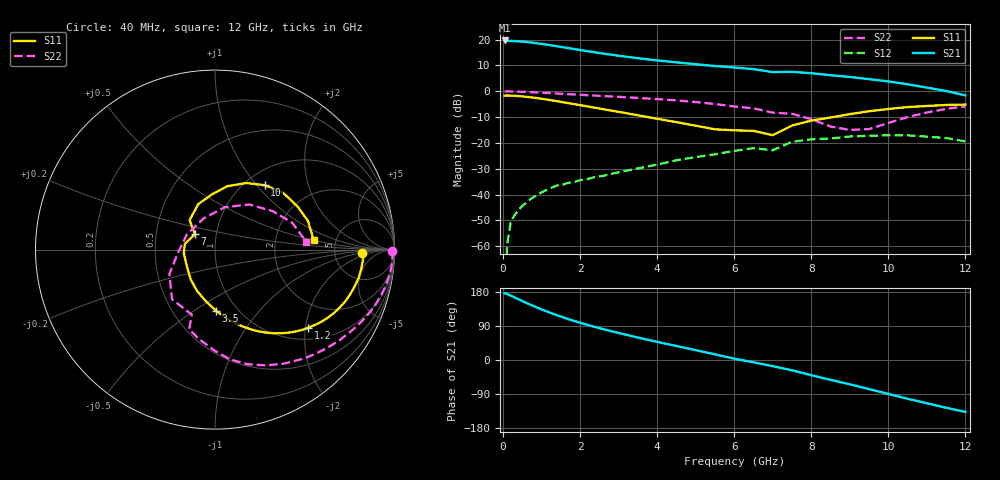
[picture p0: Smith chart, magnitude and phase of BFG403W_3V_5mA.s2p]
! Filename: 35bfg403.001
! BFG403W Field A1
! V1=8.898E-001V,V2=3.000E+000V, I1=7.423E-005A, I2=4.990E-003A
# GHz  S  MA  R 50
!  S11  S21  S12  S22
!Freq(GHz)  Mag  Ang  Mag  Ang  Mag  Ang  Mag  Ang
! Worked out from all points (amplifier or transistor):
!   44 points, 40 MHz to 12 GHz, reference 50 ohm
!   highest |S21| = 19.7 dB at 40 MHz (marker M1)
!   |S21| within 3 dB of that: start of sweep to 1.712 GHz
!   S11 on the Smith chart (normalised r, x): 40 MHz: 10, -1; 1.2 GHz: 1.28, -2.07; 3.5 GHz: 0.80, -0.62; 7 GHz: 0.79, +0.14; 10 GHz: 1.22, +1.10; 12 GHz: 3.37, +0.54
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0.04  0.821 -1.5  9.62 176.2  0 60.8  0.987 -0.4
0.1  0.827 -3.6  9.463 174.4  0.001 91.3  0.99 -1.9
0.2  0.822 -7.4  9.42 169.8  0.003 84.2  0.989 -4.2
0.4  0.806 -14.4  9.274 160.3  0.005 81.1  0.981 -8.7
0.5  0.793 -18.4  9.167 155.4  0.006 77.1  0.975 -10.7
0.7  0.766 -24.9  8.813 146.4  0.008 73.7  0.962 -14.8
0.9  0.733 -31.3  8.452 137.7  0.01 70.5  0.946 -18.7
1.2  0.678 -40.0  7.842 125.6  0.013 66.4  0.92 -24.1
1.6  0.605 -50.2  7.029 111.1  0.016 62.9  0.885 -30.7
1.9  0.554 -56.9  6.461 101.4  0.018 61.1  0.861 -35.4
2.2  0.507 -63.2  5.952 92.5  0.02 60.4  0.837 -40.0
2.8  0.423 -74.9  5.102 76.3  0.025 59.1  0.793 -48.7
3.5  0.342 -88.8  4.361 59.3  0.032 56.8  0.742 -59.0
4.5  0.252 -113.1  3.621 36.9  0.046 50.0  0.664 -74.1
5.5  0.183 -148.5  3.072 14.9  0.06 38.7  0.565 -89.9
6.5  0.171 169.1  2.679 -6.0  0.079 27.8  0.467 -108.0
7  0.141 142.9  2.345 -16.3  0.072 26.0  0.385 -109.6
7.5  0.217 130.6  2.374 -27.1  0.105 15.0  0.366 -130.9
8.5  0.31 92.5  2.04 -52.4  0.122 -10.3  0.207 -175.1
10  0.453 52.4  1.549 -89.5  0.141 -47.0  0.243 76.7
10.5  0.494 39.9  1.366 -102.3  0.14 -61.4  0.316 52.6
12  0.552 5.8  0.832 -136.9  0.107 -105.8  0.511 4.7
